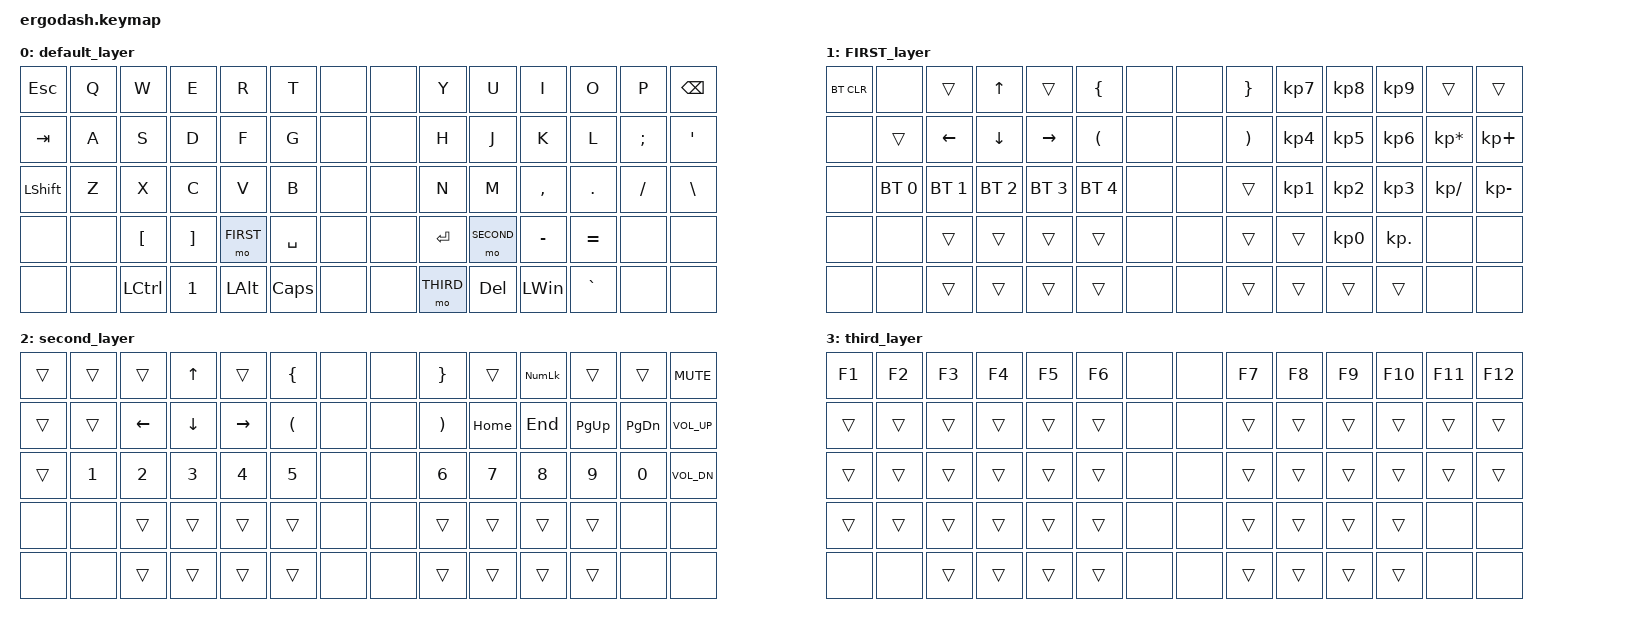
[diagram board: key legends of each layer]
/*
 * Copyright (c) 2020 The ZMK Contributors
 *
 * SPDX-License-Identifier: MIT
 */

#include <behaviors.dtsi>
#include <dt-bindings/zmk/keys.h>
#include <dt-bindings/zmk/bt.h>
#include <dt-bindings/zmk/ext_power.h>

#define DEFAULT 0
#define FIRST   1
#define SECOND  2
#define THIRD   3

/ {
        keymap {
                compatible = "zmk,keymap";

                default_layer {
/* QWERTY
 * .----------------------------------------------------------------------------------------------------------------------.
 * |  `   |   1  |   2  |   3  |   4  |   5  |  [   |                    |  ]   |   6  |   7  |   8  |   9  |   0  | PScr |
 * |------+------+------+------+------+------+------+--------------------+------+------+------+------+------+------+------|
 * | ESC  |   Q  |   W  |   E  |   R  |   T  |  -   |                    |  =   |   Y  |   U  |   I  |   O  |   P  |  \   |
 * |------+------+------+------+------+------+------+--------------------+------+------+------+------+------+------+------|
 * | Tab  |   A  |   S  |   D  |   F  |   G  | Del  |                    | Bksp |   H  |   J  |   K  |   L  |   ;  |  '   |
 * |------+------+------+------+------+------+---------------------------+------+------+------+------+------+------+------|
 * | Shift|   Z  |   X  |   C  |   V  |   B  | End  |                    | Home |   N  |   M  |   ,  |   .  |   /  | Shift|
 * |-------------+------+------+------+------+------+------+------+------+------+------+------+------+------+-------------|
 * | Ctrl |      | PGDN | Win  |||||||| Alt  | Space| Lower|||||||| Raise| Enter| RAlt ||||||||      | PGUP | Ins  | RCtrl|
 * .----------------------------------------------------------------------------------------------------------------------.
 */
                        bindings = < 
&kp  ESC      &kp  Q        &kp  W        &kp  E        &kp  R        &kp  T        &none            &none      &kp  Y        &kp  U        &kp  I        &kp  O        &kp  P        &kp  BSPC       
&kp  TAB      &kp  A        &kp  S        &kp  D        &kp  F        &kp  G        &none            &none      &kp  H        &kp  J        &kp  K        &kp  L        &kp  SEMI     &kp  SQT       
&kp  LSHFT    &kp  Z        &kp  X        &kp  C        &kp  V        &kp  B        &none            &none      &kp  N        &kp  M        &kp  COMMA    &kp  DOT      &kp  SLASH    &kp  BSLH      
&none         &none         &kp  LBKT     &kp  RBKT     &mo  FIRST    &kp  SPACE    &none            &none      &kp  RET      &mo  SECOND   &kp  MINUS    &kp  EQUAL    &none         &none         
&none         &none         &kp  LCTRL    &kp  N1       &kp  LALT     &kp  CAPS     &none            &none      &mo  THIRD    &kp  DEL      &kp  LWIN     &kp  GRAVE     &none         &none             
                        >;
                };
                FIRST_layer {
/* .----------------------------------------------------------------------------------------------------------------------.
 * |  F11 |  F1  |  F2  |  F3  |  F4  |  F5  |      |                    |      |  F6  |  F7  |  F8  |  F9  |  F10 |  F12 |
 * |------+------+------+------+------+------+------+--------------------+------+------+------+------+------+------+------|
 * |      |      |      |      |      |      |      |                    |      |      |      |      |      |      |      |
 * |------+------+------+------+------+------+------+--------------------+------+------+------+------+------+------+------|
 * |      |      |      |      |      |      |      |                    |      |      |      |      |      |      |      |
 * |------+------+------+------+------+------+---------------------------+------+------+------+------+------+------+------|
 * | Shift| Boot | Reset|      |      |      |      |                    |      |      |      |      |      |      | Shift|
 * |-------------+------+------+------+------+------+------+------+------+------+------+------+------+------+-------------|
 * | Ctlr |      |      |  Win |||||||| Alt  |      | Lower|||||||| Raise|      | RAlt ||||||||      |      |      | RCtrl|
 * .----------------------------------------------------------------------------------------------------------------------.
 */ /* FIXME boot and reset are not yet locale aware */
                        bindings = <
&bt BT_CLR         &none                    &trans         &kp  UP        &trans         &kp  LBRC     &none           &none      &kp  RBRC        &kp  KP_N7        &kp  KP_N8        &kp  KP_N9        &trans               &trans            
&none        &trans                   &kp  LEFT      &kp  DOWN      &kp  RIGHT     &kp  LPAR     &none           &none      &kp  RPAR        &kp  KP_N4        &kp  KP_N5        &kp  KP_N6        &kp  KP_MULTIPLY     &kp  KP_PLUS       
&none              &bt BT_SEL 0             &bt BT_SEL 1   &bt BT_SEL 2   &bt BT_SEL 3   &bt BT_SEL 4  &none           &none      &trans           &kp  KP_N1        &kp  KP_N2        &kp  KP_N3        &kp  KP_DIVIDE       &kp  KP_MINUS       
&none                   &none                    &trans         &trans         &trans         &trans        &none           &none      &trans           &trans            &kp  KP_N0        &kp  KP_DOT       &none                &none             
&none                   &none                    &trans         &trans         &trans         &trans        &none           &none      &trans           &trans            &trans            &trans            &none                &none             
                         >;
               }; 
                second_layer {
/* .----------------------------------------------------------------------------------------------------------------------.
 * |      | BT 0 | BT 1 | BT 2 | BT 3 |      | BTCL |                    |      |      |      |      |      |      |      |
 * |------+------+------+------+------+------+------+--------------------+------+------+------+------+------+------+------|
 * |      |      |      |      |      |      |      |                    |      |      |      |      |      |      |      |
 * |------+------+------+------+------+------+------+--------------------+------+------+------+------+------+------+------|
 * |      |      |      |      |      |      |      |                    |      |      |      |      |      |      |      |
 * |------+------+------+------+------+------+---------------------------+------+------+------+------+------+------+------|
 * | Shift|      |      |      |      |      |      |                    |      |      |      |      | Boot | Reset| Shift|
 * |-------------+------+------+------+------+------+------+------+------+------+------+------+------+------+-------------|
 * | Ctlr |      |      |  Win |||||||| Alt  |      | Lower|||||||| Raise|      | RAlt ||||||||      |      |      | RCtrl|
 * .----------------------------------------------------------------------------------------------------------------------.
 */ /* FIXME boot and reset are not yet locale aware */
                        bindings = <
&trans        &trans        &trans         &kp  UP        &trans         &kp  LBRC     &none             &none       &kp  RBRC        &trans        &kp  KP_NUMLOCK    &trans        &trans        &kp  C_MUTE       
&trans        &trans        &kp  LEFT      &kp  DOWN      &kp  RIGHT     &kp  LPAR     &none             &none       &kp  RPAR        &kp  HOME     &kp  END           &kp  PG_UP    &kp  PG_DN     &kp  C_VOL_UP        
&trans        &kp  N1       &kp  N2        &kp  N3        &kp  N4        &kp  N5    &none             &none       &kp  N6       &kp  N7       &kp  N8            &kp  N9       &kp  N0       &kp  C_VOL_DN       
&none         &none         &trans         &trans         &trans         &trans     &none             &none       &trans        &trans        &trans             &trans        &none         &none             
&none         &none         &trans         &trans         &trans         &trans     &none             &none       &trans        &trans        &trans             &trans        &none         &none             
                        >;
                };
                third_layer {
/* .----------------------------------------------------------------------------------------------------------------------.
 * |      | BT 0 | BT 1 | BT 2 | BT 3 |      | BTCL |                    |      |      |      |      |      |      |      |
 * |------+------+------+------+------+------+------+--------------------+------+------+------+------+------+------+------|
 * |      |      |      |      |      |      |      |                    |      |      |      |      |      |      |      |
 * |------+------+------+------+------+------+------+--------------------+------+------+------+------+------+------+------|
 * |      |      |      |      |      |      |      |                    |      |      |      |      |      |      |      |
 * |------+------+------+------+------+------+---------------------------+------+------+------+------+------+------+------|
 * | Shift|      |      |      |      |      |      |                    |      |      |      |      | Boot | Reset| Shift|
 * |-------------+------+------+------+------+------+------+------+------+------+------+------+------+------+-------------|
 * | Ctlr |      |      |  Win |||||||| Alt  |      | Lower|||||||| Raise|      | RAlt ||||||||      |      |      | RCtrl|
 * .----------------------------------------------------------------------------------------------------------------------.
 */ /* FIXME boot and reset are not yet locale aware */
                        bindings = <
&kp  F1       &kp  F2       &kp  F3        &kp  F4        &kp  F5        &kp  F6          &none               &none     &kp  F7       &kp  F8       &kp  F9       &kp  F10      &kp  F11      &kp  F12     
&trans        &trans        &trans         &trans         &trans         &trans           &none               &none     &trans        &trans        &trans        &trans        &trans        &trans       
&trans        &trans        &trans         &trans         &trans         &trans           &none               &none     &trans        &trans        &trans        &trans        &trans        &trans       
&trans        &trans        &trans         &trans         &trans         &trans           &none               &none     &trans        &trans        &trans        &trans        &none         &none       
&none         &none         &trans         &trans         &trans         &trans           &none               &none     &trans        &trans        &trans        &trans        &none         &none        
                        >;
                };
        };
};
